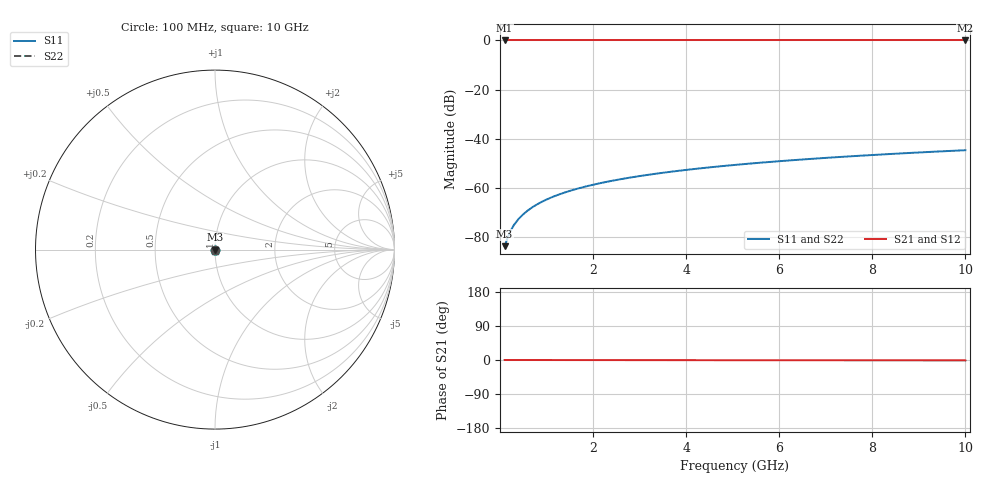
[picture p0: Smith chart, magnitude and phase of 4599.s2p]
# Hz S RI R 50.00
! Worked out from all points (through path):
!   100 points, 100 MHz to 10 GHz, reference 50 ohm
!   highest |S21| = 0.00 dB at 100 MHz (marker M1); lowest = 0.0 dB at 10 GHz (marker M2)
!   lowest |S11| = -83.7 dB at 100 MHz (marker M3), VSWR 1.00, Z = 50 - j0.00577 ohm
!   |S11| at or under -10 dB: start of sweep to end of sweep
!   |S22| runs from -83.7 to -44.7 dB; largest |S21 - S12| = 0
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1e8  3e-05 -5.77e-05  1 -0.000189  1 -0.000189  3e-05 -5.77e-05
2e8  3e-05 -0.000115  1 -0.000377  1 -0.000377  3e-05 -0.000115
3e8  3e-05 -0.000173  1 -0.000566  1 -0.000566  3e-05 -0.000173
4e8  2.99e-05 -0.000231  1 -0.000755  1 -0.000755  2.99e-05 -0.000231
5e8  2.98e-05 -0.000289  1 -0.000944  1 -0.000944  2.98e-05 -0.000289
6e8  2.97e-05 -0.000346  1 -0.00113  1 -0.00113  2.97e-05 -0.000346
7e8  2.95e-05 -0.000404  1 -0.00132  1 -0.00132  2.95e-05 -0.000404
9e8  2.91e-05 -0.000519  1 -0.0017  1 -0.0017  2.91e-05 -0.000519
1e9  2.88e-05 -0.000577  1 -0.00189  1 -0.00189  2.88e-05 -0.000577
1.2e9  2.82e-05 -0.000693  1 -0.00227  1 -0.00227  2.82e-05 -0.000693
1.5e9  2.72e-05 -0.000866  1 -0.00283  1 -0.00283  2.72e-05 -0.000866
1.8e9  2.59e-05 -0.00104  1 -0.0034  1 -0.0034  2.59e-05 -0.00104
2.1e9  2.44e-05 -0.00121  1 -0.00397  1 -0.00397  2.44e-05 -0.00121
2.5e9  2.21e-05 -0.00145  1 -0.00472  1 -0.00472  2.21e-05 -0.00145
2.9e9  1.95e-05 -0.00168  0.9999 -0.00548  0.9999 -0.00548  1.95e-05 -0.00168
3.4e9  1.57e-05 -0.00197  0.9999 -0.00643  0.9999 -0.00643  1.57e-05 -0.00197
4.2e9  8.36e-06 -0.00243  0.9999 -0.00795  0.9999 -0.00795  8.36e-06 -0.00243
5.1e9  -1.57e-06 -0.00296  0.9999 -0.00966  0.9999 -0.00966  -1.57e-06 -0.00296
5.9e9  -1.19e-05 -0.00343  0.9999 -0.0112  0.9999 -0.0112  -1.19e-05 -0.00343
6.7e9  -2.37e-05 -0.0039  0.9999 -0.0127  0.9999 -0.0127  -2.37e-05 -0.0039
8.4e9  -5.37e-05 -0.00489  0.9998 -0.016  0.9998 -0.016  -5.37e-05 -0.00489
1e10  -8.79e-05 -0.00583  0.9998 -0.019  0.9998 -0.019  -8.79e-05 -0.00583
